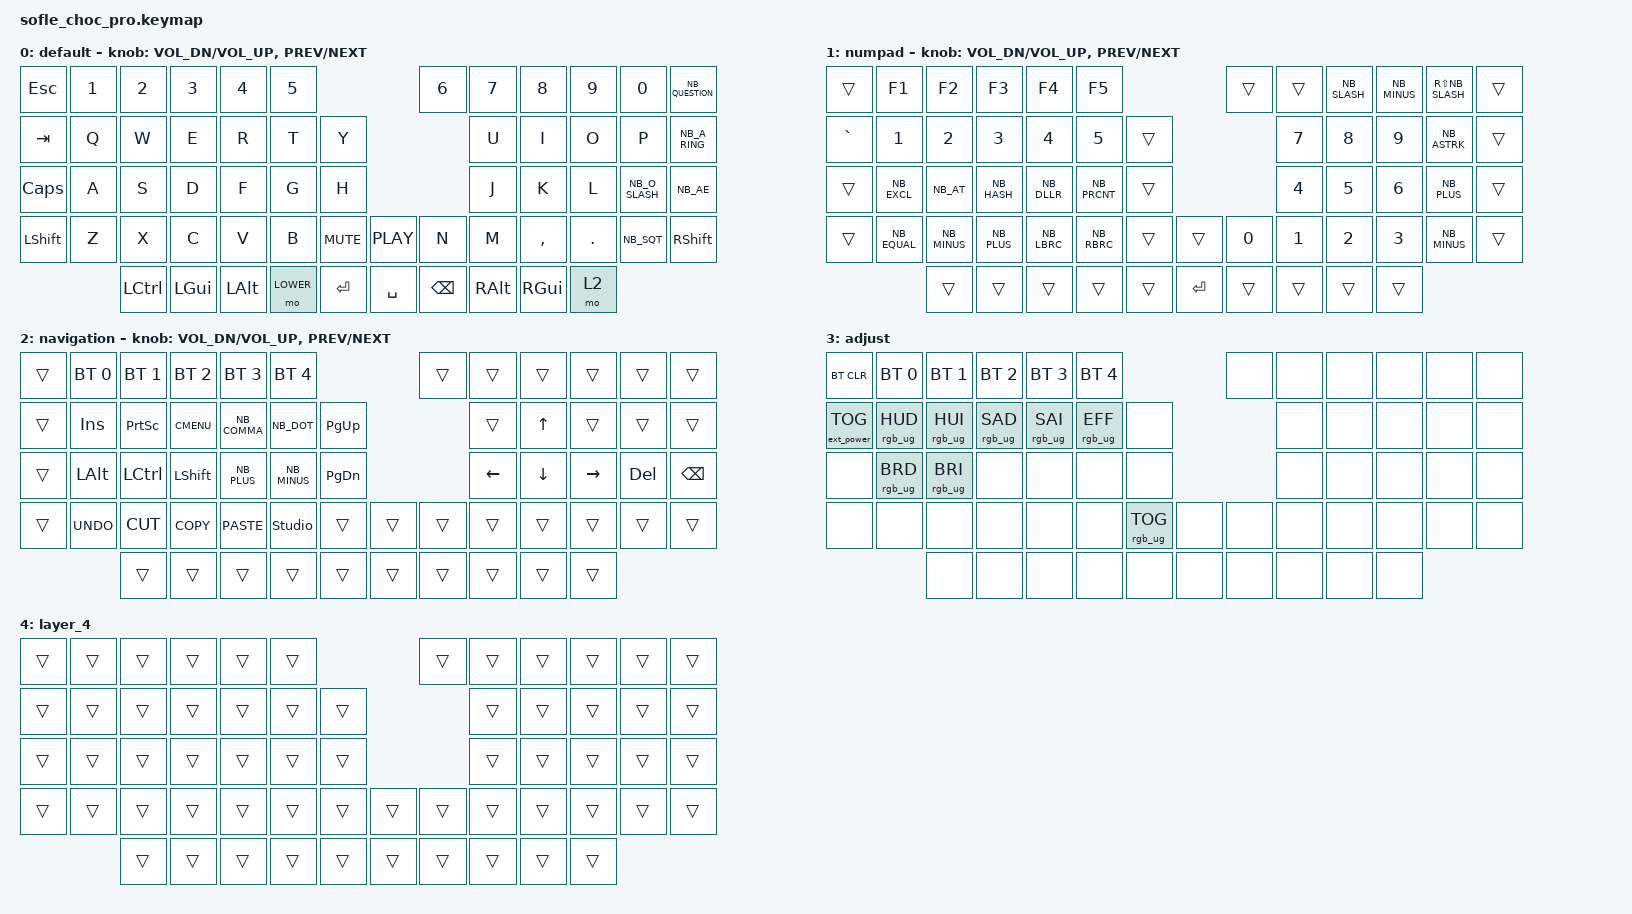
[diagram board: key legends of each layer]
/*
* Copyright (c) 2020 The ZMK Contributors
*
* SPDX-License-Identifier: MIT
*/

#include <behaviors.dtsi>
#include <dt-bindings/zmk/bt.h>
#include <dt-bindings/zmk/ext_power.h>
#include <dt-bindings/zmk/keys.h>
#include <dt-bindings/zmk/rgb.h>
#include "keys_nb.h"

#define BASE 0
#define LOWER 1
#define RAISE 2
#define ADJUST 3

/ {
    // Activate ADJUST layer by pressing raise and lower

    conditional_layers {
        compatible = "zmk,conditional-layers";

        adjust_layer {
            if-layers = <LOWER RAISE>;
            then-layer = <ADJUST>;
        };
    };

    keymap {
        compatible = "zmk,keymap";

        default_layer {
            display-name = "default";

            // ------------------------------------------------------------------------------------------------------------
            // |  ESC  |  1  |  2  |  3   |  4   |  5   |                   |  6   |  7    |  8    |  9   |   0   |   ?   |
            // |  TAB  |  Q  |  W  |  E   |  R   |  T   |                   |  Y   |  U    |  I    |  O   |   P   |   Å   |
            // |  CAPS |  A  |  S  |  D   |  F   |  G   |                   |  H   |  J    |  K    |  L   |   Ø   |   Æ   |
            // | SHIFT |  Z  |  X  |  C   |  V   |  B   |  MUTE  |  | PLAY  |  N   |  M    |  ,    |  .   |   '   | SHIFT |
            //               | CTRL| GUI  | ALT  | LOWER|  ENTER |  | SPACE | RAISE| ALT   | GUI   | CTRL |

            bindings = <
&kp ESC    &kp N1  &kp N2     &kp N3    &kp N4        &kp N5                             &kp N6         &kp N7    &kp N8     &kp N9   &kp N0          &kp NB_QUESTION
&kp TAB    &kp Q   &kp W      &kp E     &kp R         &kp T      &kp Y                                  &kp U     &kp I      &kp O    &kp P           &kp NB_A_RING
&kp CAPS   &kp A   &kp S      &kp D     &kp F         &kp G      &kp H                                  &kp J     &kp K      &kp L    &kp NB_O_SLASH  &kp NB_AE
&kp LSHFT  &kp Z   &kp X      &kp C     &kp V         &kp B      &kp C_MUTE  &kp C_PLAY  &kp N          &kp M     &kp COMMA  &kp DOT  &kp NB_SQT      &kp RSHFT
                   &kp LCTRL  &kp LGUI  &kp LEFT_ALT  &mo LOWER  &kp RET     &kp SPACE   &kp BSPC       &kp RALT  &kp RGUI   &mo 2
            >;

            sensor-bindings = <&inc_dec_kp C_VOL_DN C_VOL_UP &inc_dec_kp C_PREV C_NEXT>;
        };

        lower_layer {
            display-name = "numpad";

            // ------------------------------------------------------------------------------------------------------------
            // |       |  F1 |  F2 |  F3  |  F4  |  F5  |                   |      |  /    |  -    |       |       |       |
            // |   `   |  1  |  2  |  3   |  4   |  5   |                   |      |  7    |  8    |  9   |   *   |       |
            // |       |  !  |  @  |  #   |  $   |  %   |                   |      |  4    |  5    |  6   |   +   |       |
            // |       |  =  |  -  |  +   |  {   |  }   |        |  |       |  0   |  1    |  2    |  3   | ENTER |
            //               |     |      |      |      |        |  |       |      |       |       |      |

            bindings = <
&trans     &kp F1        &kp F2        &kp F3       &kp F4       &kp F5                           &trans  &trans  &kp NB_SLASH  &kp NB_MINUS  &kp RS(NB_SLASH)  &trans
&kp GRAVE  &kp N1        &kp N2        &kp N3       &kp N4       &kp N5        &trans                     &kp N7  &kp N8        &kp N9        &kp NB_ASTRK      &trans
&trans     &kp NB_EXCL   &kp NB_AT     &kp NB_HASH  &kp NB_DLLR  &kp NB_PRCNT  &trans                     &kp N4  &kp N5        &kp N6        &kp NB_PLUS       &trans
&trans     &kp NB_EQUAL  &kp NB_MINUS  &kp NB_PLUS  &kp NB_LBRC  &kp NB_RBRC   &trans  &trans     &kp N0  &kp N1  &kp N2        &kp N3        &kp NB_MINUS      &trans
                         &trans        &trans       &trans       &trans        &trans  &kp ENTER  &trans  &trans  &trans        &trans
            >;

            sensor-bindings = <&inc_dec_kp C_VOL_DN C_VOL_UP &inc_dec_kp C_PREV C_NEXT>;
        };

        raise_layer {
            display-name = "navigation";

            // ------------------------------------------------------------------------------------------------------------
            // | BTCLR | BT1  | BT2  |  BT3  |  BT4  |  BT5 |                |      |      |       |       |       |       |
            // |       | INS  | PSCR | GUI   |   ,   |  .   |                | PGUP |      |  UP   |       |       |       |
            // |       | ALT  | CTRL | SHIFT |   +   |  -   |                | PGDN | LEFT | DOWN  | RIGHT | DEL   | BSPC  |
            // |       | UNDO | CUT  | COPY  | PASTE |      |      |  |      |      |      |       |       |       |
            //                |      |       |       |      |      |  |      |      |      |       |      |

            bindings = <
&trans  &bt BT_SEL 0  &bt BT_SEL 1  &bt BT_SEL 2  &bt BT_SEL 3  &bt BT_SEL 4                       &trans  &trans    &trans    &trans     &trans   &trans
&trans  &kp INS       &kp PSCRN     &kp K_CMENU   &kp NB_COMMA  &kp NB_DOT      &kp PG_UP                  &trans    &kp UP    &trans     &trans   &trans
&trans  &kp LALT      &kp LCTRL     &kp LSHFT     &kp NB_PLUS   &kp NB_MINUS    &kp PG_DN                  &kp LEFT  &kp DOWN  &kp RIGHT  &kp DEL  &kp BSPC
&trans  &kp K_UNDO    &kp K_CUT     &kp K_COPY    &kp K_PASTE   &studio_unlock  &trans     &trans  &trans  &trans    &trans    &trans     &trans   &trans
                      &trans        &trans        &trans        &trans          &trans     &trans  &trans  &trans    &trans    &trans
            >;

            sensor-bindings = <&inc_dec_kp C_VOL_DN C_VOL_UP &inc_dec_kp C_PREV C_NEXT>;
        };

        adjust_layer {
            // ----------------------------------------------------------------------------------------------------------------------------
            // | BTCLR  |  BT1    |  BT2    |   BT3   |   BT4   |   BT5   |                  |      |      |       |      |       |       |
            // | EXTPWR | RGB_HUD | RGB_HUI | RGB_SAD | RGB_SAI | RGB_EFF |                  |      |      |       |      |       |
            // |        | RGB_BRD | RGB_BRI |         |         |         |                  |      |      |       |      |       |
            // |        |         |         |         |         |         | RGB_TOG | |      |      |      |       |      |       |       |
            //                    |         |         |         |         |         | |      |      |      |       |      |

            display-name = "adjust";
            bindings = <
&bt BT_CLR         &bt BT_SEL 0     &bt BT_SEL 1     &bt BT_SEL 2     &bt BT_SEL 3     &bt BT_SEL 4                             &none  &none  &none  &none  &none  &none
&ext_power EP_TOG  &rgb_ug RGB_HUD  &rgb_ug RGB_HUI  &rgb_ug RGB_SAD  &rgb_ug RGB_SAI  &rgb_ug RGB_EFF  &none                          &none  &none  &none  &none  &none
&none              &rgb_ug RGB_BRD  &rgb_ug RGB_BRI  &none            &none            &none            &none                          &none  &none  &none  &none  &none
&none              &none            &none            &none            &none            &none            &rgb_ug RGB_TOG  &none  &none  &none  &none  &none  &none  &none
                                    &none            &none            &none            &none            &none            &none  &none  &none  &none  &none
            >;
        };

        layer_4 {
            bindings = <
&trans  &trans  &trans  &trans  &trans  &trans                  &trans  &trans  &trans  &trans  &trans  &trans
&trans  &trans  &trans  &trans  &trans  &trans  &trans                  &trans  &trans  &trans  &trans  &trans
&trans  &trans  &trans  &trans  &trans  &trans  &trans                  &trans  &trans  &trans  &trans  &trans
&trans  &trans  &trans  &trans  &trans  &trans  &trans  &trans  &trans  &trans  &trans  &trans  &trans  &trans
                &trans  &trans  &trans  &trans  &trans  &trans  &trans  &trans  &trans  &trans
            >;
        };
    };
};
